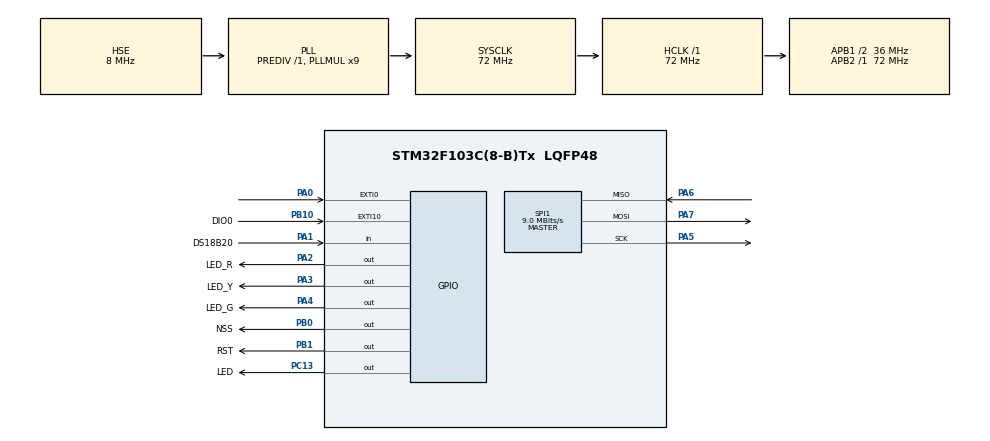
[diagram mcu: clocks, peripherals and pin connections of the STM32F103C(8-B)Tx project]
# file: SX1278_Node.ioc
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Mcu.Family=STM32F1
Mcu.Name=STM32F103C(8-B)Tx
Mcu.Package=LQFP48
NVIC.EXTI0_IRQn=true\:0\:0\:false\:false\:true\:true\:true\:true
NVIC.EXTI15_10_IRQn=true\:0\:0\:false\:false\:true\:true\:true\:true
NVIC.PriorityGroup=NVIC_PRIORITYGROUP_4
PA0-WKUP.GPIO_ModeDefaultEXTI=GPIO_MODE_IT_FALLING
PA0-WKUP.GPIO_PuPd=GPIO_PULLUP
PA0-WKUP.Signal=GPXTI0
PA1.GPIO_Label=DS18B20
PA1.Signal=GPIO_Input
PA13.Mode=Serial_Wire
PA13.Signal=SYS_JTMS-SWDIO
PA14.Mode=Serial_Wire
PA14.Signal=SYS_JTCK-SWCLK
PA2.GPIO_Label=LED_R
PA2.Signal=GPIO_Output
PA3.GPIO_Label=LED_Y
PA3.Signal=GPIO_Output
PA4.GPIO_Label=LED_G
PA4.Signal=GPIO_Output
PA5.Mode=Full_Duplex_Master
PA5.Signal=SPI1_SCK
PA6.Mode=Full_Duplex_Master
PA6.Signal=SPI1_MISO
PA7.Mode=Full_Duplex_Master
PA7.Signal=SPI1_MOSI
PB0.GPIO_Label=NSS
PB0.PinState=GPIO_PIN_SET
PB0.Signal=GPIO_Output
PB1.GPIO_Label=RST
PB1.PinState=GPIO_PIN_SET
PB1.Signal=GPIO_Output
PB10.GPIO_Label=DIO0
PB10.Signal=GPXTI10
PC13-TAMPER-RTC.GPIO_Label=LED
PC13-TAMPER-RTC.Signal=GPIO_Output
PD0-OSC_IN.Mode=HSE-External-Oscillator
PD0-OSC_IN.Signal=RCC_OSC_IN
PD1-OSC_OUT.Mode=HSE-External-Oscillator
PD1-OSC_OUT.Signal=RCC_OSC_OUT
ProjectManager.HeapSize=0x800
ProjectManager.StackSize=0x400
ProjectManager.TargetToolchain=MDK-ARM V5.32
RCC.ADCPresc=RCC_ADCPCLK2_DIV6
RCC.AHBFreq_Value=72000000
RCC.APB1CLKDivider=RCC_HCLK_DIV2
RCC.APB1Freq_Value=36000000
RCC.APB1TimFreq_Value=72000000
RCC.APB2Freq_Value=72000000
RCC.APB2TimFreq_Value=72000000
RCC.HCLKFreq_Value=72000000
RCC.PLLMUL=RCC_PLL_MUL9
RCC.PLLSourceVirtual=RCC_PLLSOURCE_HSE
RCC.SYSCLKFreq_VALUE=72000000
RCC.SYSCLKSource=RCC_SYSCLKSOURCE_PLLCLK
RCC.USBFreq_Value=72000000
SPI1.BaudRatePrescaler=SPI_BAUDRATEPRESCALER_8
SPI1.CalculateBaudRate=9.0 MBits/s
SPI1.Direction=SPI_DIRECTION_2LINES
SPI1.Mode=SPI_MODE_MASTER
SPI1.VirtualType=VM_MASTER
TIM1.Prescaler=71
VP_TIM1_VS_ClockSourceINT.Mode=Internal
board=custom

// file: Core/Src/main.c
/* USER CODE BEGIN Header */
/**
  ******************************************************************************
  * @file           : main.c
  * @brief          : Main program body
  ******************************************************************************
  * @attention
  *
  * Copyright (c) 2023 STMicroelectronics.
  * All rights reserved.
  *
  * This software is licensed under terms that can be found in the LICENSE file
  * in the root directory of this software component.
  * If no LICENSE file comes with this software, it is provided AS-IS.
  *
  ******************************************************************************
  */
/* USER CODE END Header */
#include "main.h"

/* USER CODE BEGIN Includes */
//#include "SX1278.h"
#include "LoRa.h"
#include "string.h"
#include "stdio.h"
#include "ds18b20driver.h"
/* USER CODE END Includes */

SPI_HandleTypeDef hspi1;

TIM_HandleTypeDef htim1;

/* USER CODE BEGIN PV */
uint8_t DataIn[20];
uint8_t DataOut[10];
LoRa myLoRa;
#define true 1
#define false 0

#define LEDThresh 0x00
#define ACK 0x01
#define OTAA 0x02
#define RxTimeout 90

DS18B20_Sensor sensor1;

float temperature;
uint16_t Thresh1 = 50;
uint16_t Thresh2 = 100;

#define NodeAddress 0x02
#define GatewayAddress 0xFF
#define Broadcast 0x00

uint8_t processdata = 0;
uint8_t ack = 0;
uint32_t MediumClear = 0;
/* USER CODE END PV */

void SystemClock_Config(void);
static void MX_GPIO_Init(void);
static void MX_SPI1_Init(void);
static void MX_TIM1_Init(void);
/* USER CODE BEGIN PFP */
void delay_us(uint16_t time){
	__HAL_TIM_SET_COUNTER(&htim1, 0);
	while(__HAL_TIM_GET_COUNTER(&htim1) <= time);
}

void Send_Temp(){
	char string[6];

	for (uint8_t i = 2; i < 10; i++)
		DataOut[i] = 0;

	sprintf(string, "%.1f", temperature);
	DataOut[0] = NodeAddress;
	DataOut[1] = GatewayAddress;
	strcat(DataOut, string);
	LoRa_transmit(&myLoRa, DataOut, strlen(DataOut), 10);
}

void OTAA_Req(){
	DataOut[0] = NodeAddress;
	DataOut[1] = GatewayAddress;
	DataOut[2] = OTAA;
	LoRa_transmit(&myLoRa, DataOut, 20, 10);
}

void Command_Execute(){
	switch(DataIn[2] - '0'){
		case LEDThresh:
			Thresh1 = DataIn[3] * 10 + DataIn[4] - '0' * 11;
			Thresh2 = DataIn[5] * 10 + DataIn[6] - '0' * 11;
			break;
		case ACK:
			ack = true;
		default:
			break;
	}
}

void HAL_GPIO_EXTI_Callback(uint16_t GPIO_Pin)
{
  /* Prevent unused argument(s) compilation warning */
	if(GPIO_Pin == DIO0_Pin){
	//	processdata = 1;

		uint8_t received_length = LoRa_receive(&myLoRa, DataIn, 20);
	//	return;
		if(received_length != 0){
			if(DataIn[0] != GatewayAddress)
				MediumClear += RxTimeout;
			else if(DataIn[1] != NodeAddress && DataIn[1] != Broadcast)
				MediumClear += 30;
			else Command_Execute();
		}
	}
}

void LBT(){
	do{
		while(HAL_GetTick()< MediumClear){}
		MediumClear = 0;
		LoRa_gotoMode(&myLoRa, RXCONTIN_MODE);

	}while(MediumClear != 0);
}

uint16_t j = 0;
/* USER CODE END PFP */

int main(void)
{

  /* MCU Configuration--------------------------------------------------------*/

  /* Reset of all peripherals, Initializes the Flash interface and the Systick. */
  HAL_Init();

  /* Configure the system clock */
  SystemClock_Config();

  /* Initialize all configured peripherals */
  MX_GPIO_Init();
  MX_SPI1_Init();
  MX_TIM1_Init();
  /* USER CODE BEGIN 2 */
	HAL_TIM_Base_Start(&htim1);

	sensor1.GPIOx = DS18B20_GPIO_Port;
	sensor1.GPIO_Pin = DS18B20_Pin;

	DS18B20_ReadROM(&sensor1);
	DS18B20_SetResolution(sensor1, Resolution9Bit);

	myLoRa = newLoRa();

	myLoRa.hSPIx                 = &hspi1;
	myLoRa.CS_port               = NSS_GPIO_Port;
	myLoRa.CS_pin                = NSS_Pin;
	myLoRa.reset_port            = RST_GPIO_Port;
	myLoRa.reset_pin             = RST_Pin;
	myLoRa.DIO0_port						 = DIO0_GPIO_Port;
	myLoRa.DIO0_pin							 = DIO0_Pin;

	myLoRa.frequency             = 433;							  // default = 433 MHz
	myLoRa.spredingFactor        = SF_7;							// default = SF_7
	myLoRa.bandWidth			       = BW_125KHz;				  // default = BW_125KHz
	myLoRa.crcRate				       = CR_4_5;						// default = CR_4_5
	myLoRa.power					       = POWER_20db;				// default = 20db
	myLoRa.overCurrentProtection = 120; 							// default = 100 mA
	myLoRa.preamble				       = 8;		  					// default = 8;

	j = LoRa_init(&myLoRa);

	HAL_GPIO_WritePin(LED_G_GPIO_Port, LED_G_Pin, 1);
	HAL_GPIO_WritePin(LED_G_GPIO_Port, LED_Y_Pin, 1);
	HAL_GPIO_WritePin(LED_G_GPIO_Port, LED_R_Pin, 1);
	HAL_Delay(1000);

	HAL_GPIO_WritePin(LED_G_GPIO_Port, LED_G_Pin, 0);
	HAL_GPIO_WritePin(LED_G_GPIO_Port, LED_Y_Pin, 0);
	HAL_GPIO_WritePin(LED_G_GPIO_Port, LED_R_Pin, 0);

/*	LoRa_gotoMode(&myLoRa, RXCONTIN_MODE);
	processdata = 1;
	while(1){
		if(processdata == 1){
			LoRa_transmit(&myLoRa, "H", 1, 10);
			processdata = 0;
		}
			HAL_GPIO_WritePin(LED_GPIO_Port, LED_Pin, 0);
	}
	*/
/*	do{
		LBT();
		OTAA_Req();
		delay_us(RxDelay_us);
		LoRa_gotoMode(&myLoRa, RXCONTIN_MODE);
		HAL_Delay(RxTimeout);
		delay_us(RxDelay_us);
	}	while(ack != true);
	ack = false;
*/
  /* USER CODE END 2 */

  /* Infinite loop */
  /* USER CODE BEGIN WHILE */
  while (1)
  {
/*			LoRa_transmit(&myLoRa, "Hello", 6, 1000);
			LoRa_gotoMode(&myLoRa, RXCONTIN_MODE);
			HAL_GPIO_WritePin(LED_GPIO_Port, LED_Pin, 1);
			HAL_Delay(300);
			HAL_GPIO_WritePin(LED_GPIO_Port, LED_Pin, 0);
			HAL_Delay(300);
			DS18B20_GetTemp(sensor1, &temperature);
			Send_Temp();
*/
		HAL_GPIO_WritePin(LED_G_GPIO_Port, LED_G_Pin, 0);
		HAL_GPIO_WritePin(LED_G_GPIO_Port, LED_Y_Pin, 0);
		HAL_GPIO_WritePin(LED_G_GPIO_Port, LED_R_Pin, 0);
		LoRa_gotoMode(&myLoRa, SLEEP_MODE);

		HAL_SuspendTick();
		HAL_PWR_EnterSLEEPMode(PWR_MAINREGULATOR_ON, PWR_SLEEPENTRY_WFI);
		HAL_ResumeTick();

		LoRa_gotoMode(&myLoRa, RXCONTIN_MODE);
		DS18B20_GetTemp(sensor1, &temperature);

		if(temperature<Thresh1){
			HAL_GPIO_WritePin(LED_G_GPIO_Port, LED_G_Pin, 1);
			HAL_GPIO_WritePin(LED_G_GPIO_Port, LED_Y_Pin, 0);
			HAL_GPIO_WritePin(LED_G_GPIO_Port, LED_R_Pin, 0);
		}
		else if(temperature<Thresh2){
			HAL_GPIO_WritePin(LED_G_GPIO_Port, LED_G_Pin, 0);
			HAL_GPIO_WritePin(LED_G_GPIO_Port, LED_Y_Pin, 1);
			HAL_GPIO_WritePin(LED_G_GPIO_Port, LED_R_Pin, 0);
		}
		else{
			HAL_GPIO_WritePin(LED_G_GPIO_Port, LED_G_Pin, 0);
			HAL_GPIO_WritePin(LED_G_GPIO_Port, LED_Y_Pin, 0);
			HAL_GPIO_WritePin(LED_G_GPIO_Port, LED_R_Pin, 1);
		}

			LBT();
			Send_Temp();
			LoRa_gotoMode(&myLoRa, RXCONTIN_MODE);
			HAL_Delay(RxTimeout);

    /* USER CODE END WHILE */

  }
}

void SystemClock_Config(void)
{
  RCC_OscInitTypeDef RCC_OscInitStruct = {0};
  RCC_ClkInitTypeDef RCC_ClkInitStruct = {0};

  /** Initializes the RCC Oscillators according to the specified parameters
  * in the RCC_OscInitTypeDef structure.
  */
  RCC_OscInitStruct.OscillatorType = RCC_OSCILLATORTYPE_HSE;
  RCC_OscInitStruct.HSEState = RCC_HSE_ON;
  RCC_OscInitStruct.HSEPredivValue = RCC_HSE_PREDIV_DIV1;
  RCC_OscInitStruct.HSIState = RCC_HSI_ON;
  RCC_OscInitStruct.PLL.PLLState = RCC_PLL_ON;
  RCC_OscInitStruct.PLL.PLLSource = RCC_PLLSOURCE_HSE;
  RCC_OscInitStruct.PLL.PLLMUL = RCC_PLL_MUL9;
  if (HAL_RCC_OscConfig(&RCC_OscInitStruct) != HAL_OK)
  {
    Error_Handler();
  }

  /** Initializes the CPU, AHB and APB buses clocks
  */
  RCC_ClkInitStruct.ClockType = RCC_CLOCKTYPE_HCLK|RCC_CLOCKTYPE_SYSCLK
                              |RCC_CLOCKTYPE_PCLK1|RCC_CLOCKTYPE_PCLK2;
  RCC_ClkInitStruct.SYSCLKSource = RCC_SYSCLKSOURCE_PLLCLK;
  RCC_ClkInitStruct.AHBCLKDivider = RCC_SYSCLK_DIV1;
  RCC_ClkInitStruct.APB1CLKDivider = RCC_HCLK_DIV2;
  RCC_ClkInitStruct.APB2CLKDivider = RCC_HCLK_DIV1;

  if (HAL_RCC_ClockConfig(&RCC_ClkInitStruct, FLASH_LATENCY_2) != HAL_OK)
  {
    Error_Handler();
  }
}

static void MX_SPI1_Init(void)
{

  /* SPI1 parameter configuration*/
  hspi1.Instance = SPI1;
  hspi1.Init.Mode = SPI_MODE_MASTER;
  hspi1.Init.Direction = SPI_DIRECTION_2LINES;
  hspi1.Init.DataSize = SPI_DATASIZE_8BIT;
  hspi1.Init.CLKPolarity = SPI_POLARITY_LOW;
  hspi1.Init.CLKPhase = SPI_PHASE_1EDGE;
  hspi1.Init.NSS = SPI_NSS_SOFT;
  hspi1.Init.BaudRatePrescaler = SPI_BAUDRATEPRESCALER_8;
  hspi1.Init.FirstBit = SPI_FIRSTBIT_MSB;
  hspi1.Init.TIMode = SPI_TIMODE_DISABLE;
  hspi1.Init.CRCCalculation = SPI_CRCCALCULATION_DISABLE;
  hspi1.Init.CRCPolynomial = 10;
  if (HAL_SPI_Init(&hspi1) != HAL_OK)
  {
    Error_Handler();
  }

}

static void MX_TIM1_Init(void)
{

  TIM_ClockConfigTypeDef sClockSourceConfig = {0};
  TIM_MasterConfigTypeDef sMasterConfig = {0};

  htim1.Instance = TIM1;
  htim1.Init.Prescaler = 71;
  htim1.Init.CounterMode = TIM_COUNTERMODE_UP;
  htim1.Init.Period = 65535;
  htim1.Init.ClockDivision = TIM_CLOCKDIVISION_DIV1;
  htim1.Init.RepetitionCounter = 0;
  htim1.Init.AutoReloadPreload = TIM_AUTORELOAD_PRELOAD_DISABLE;
  if (HAL_TIM_Base_Init(&htim1) != HAL_OK)
  {
    Error_Handler();
  }
  sClockSourceConfig.ClockSource = TIM_CLOCKSOURCE_INTERNAL;
  if (HAL_TIM_ConfigClockSource(&htim1, &sClockSourceConfig) != HAL_OK)
  {
    Error_Handler();
  }
  sMasterConfig.MasterOutputTrigger = TIM_TRGO_RESET;
  sMasterConfig.MasterSlaveMode = TIM_MASTERSLAVEMODE_DISABLE;
  if (HAL_TIMEx_MasterConfigSynchronization(&htim1, &sMasterConfig) != HAL_OK)
  {
    Error_Handler();
  }

}

static void MX_GPIO_Init(void)
{
  GPIO_InitTypeDef GPIO_InitStruct = {0};

  /* GPIO Ports Clock Enable */
  __HAL_RCC_GPIOC_CLK_ENABLE();
  __HAL_RCC_GPIOD_CLK_ENABLE();
  __HAL_RCC_GPIOA_CLK_ENABLE();
  __HAL_RCC_GPIOB_CLK_ENABLE();

  /*Configure GPIO pin Output Level */
  HAL_GPIO_WritePin(LED_GPIO_Port, LED_Pin, GPIO_PIN_RESET);

  /*Configure GPIO pin Output Level */
  HAL_GPIO_WritePin(GPIOA, LED_R_Pin|LED_Y_Pin|LED_G_Pin, GPIO_PIN_RESET);

  /*Configure GPIO pin Output Level */
  HAL_GPIO_WritePin(GPIOB, NSS_Pin|RST_Pin, GPIO_PIN_SET);

  /*Configure GPIO pin : LED_Pin */
  GPIO_InitStruct.Pin = LED_Pin;
  GPIO_InitStruct.Mode = GPIO_MODE_OUTPUT_PP;
  GPIO_InitStruct.Pull = GPIO_NOPULL;
  GPIO_InitStruct.Speed = GPIO_SPEED_FREQ_LOW;
  HAL_GPIO_Init(LED_GPIO_Port, &GPIO_InitStruct);

  /*Configure GPIO pin : PA0 */
  GPIO_InitStruct.Pin = GPIO_PIN_0;
  GPIO_InitStruct.Mode = GPIO_MODE_IT_FALLING;
  GPIO_InitStruct.Pull = GPIO_PULLUP;
  HAL_GPIO_Init(GPIOA, &GPIO_InitStruct);

  /*Configure GPIO pin : DS18B20_Pin */
  GPIO_InitStruct.Pin = DS18B20_Pin;
  GPIO_InitStruct.Mode = GPIO_MODE_INPUT;
  GPIO_InitStruct.Pull = GPIO_NOPULL;
  HAL_GPIO_Init(DS18B20_GPIO_Port, &GPIO_InitStruct);

  /*Configure GPIO pins : LED_R_Pin LED_Y_Pin LED_G_Pin */
  GPIO_InitStruct.Pin = LED_R_Pin|LED_Y_Pin|LED_G_Pin;
  GPIO_InitStruct.Mode = GPIO_MODE_OUTPUT_PP;
  GPIO_InitStruct.Pull = GPIO_NOPULL;
  GPIO_InitStruct.Speed = GPIO_SPEED_FREQ_LOW;
  HAL_GPIO_Init(GPIOA, &GPIO_InitStruct);

  /*Configure GPIO pins : NSS_Pin RST_Pin */
  GPIO_InitStruct.Pin = NSS_Pin|RST_Pin;
  GPIO_InitStruct.Mode = GPIO_MODE_OUTPUT_PP;
  GPIO_InitStruct.Pull = GPIO_NOPULL;
  GPIO_InitStruct.Speed = GPIO_SPEED_FREQ_LOW;
  HAL_GPIO_Init(GPIOB, &GPIO_InitStruct);

  /*Configure GPIO pin : DIO0_Pin */
  GPIO_InitStruct.Pin = DIO0_Pin;
  GPIO_InitStruct.Mode = GPIO_MODE_IT_RISING;
  GPIO_InitStruct.Pull = GPIO_NOPULL;
  HAL_GPIO_Init(DIO0_GPIO_Port, &GPIO_InitStruct);

  /* EXTI interrupt init*/
  HAL_NVIC_SetPriority(EXTI0_IRQn, 0, 0);
  HAL_NVIC_EnableIRQ(EXTI0_IRQn);

  HAL_NVIC_SetPriority(EXTI15_10_IRQn, 0, 0);
  HAL_NVIC_EnableIRQ(EXTI15_10_IRQn);

}

void Error_Handler(void)
{
  __disable_irq();
  while (1)
  {
  }
}
